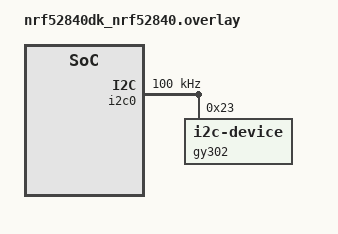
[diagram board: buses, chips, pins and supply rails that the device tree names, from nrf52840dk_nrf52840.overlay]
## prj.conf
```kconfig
CONFIG_I2C=y

CONFIG_LOG=y
CONFIG_LOG_INFO_COLOR_GREEN=y
CONFIG_LOG_BACKEND_UART=n
```

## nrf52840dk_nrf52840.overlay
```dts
&i2c0 {
    clock-frequency = <I2C_BITRATE_STANDARD>;
    gy302: gy302@23
    {
        compatible = "i2c-device";
        status = "okay";
        reg = <0x23>;
    };

    status = "okay";
};
```

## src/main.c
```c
#include <stdio.h>
#include <stdlib.h>

#include <zephyr/net/net_ip.h>
#include <zephyr/kernel.h>
#include <zephyr/drivers/i2c.h>
#include <zephyr/logging/log.h>

LOG_MODULE_REGISTER(MAIN, LOG_LEVEL_DBG);

#define I2C0_NODE DT_NODELABEL(gy302)

static const struct i2c_dt_spec dev_i2c = I2C_DT_SPEC_GET(I2C0_NODE);

int main(void)
{
    if(!device_is_ready(dev_i2c.bus))
    {
        LOG_ERR("I2C bus %s is not ready!\r\n", dev_i2c.bus->name);
        return -1;
    }
    
    int ec = 0;
    char iic_write_buffer[1] = { 0 };
    char iic_read_buffer[2] = { 0 };

    // init gy302
    iic_write_buffer[0] = 0x01;
    ec = i2c_write_dt(&dev_i2c, iic_write_buffer, 1);
    // LOG_DBG("init ec = %d", ec);

    for(;;)
    {
        memset(iic_write_buffer, 0, sizeof(iic_write_buffer));
        memset(iic_read_buffer, 0, sizeof(iic_read_buffer));
        
        iic_write_buffer[0] = 0x11;

        ec = i2c_write_read_dt(
            &dev_i2c,
            iic_write_buffer, 1,
            iic_read_buffer, 2
        );
        // LOG_DBG("get info ec = %d", ec);

        uint16_t brightness_value;
        memcpy(&brightness_value, iic_read_buffer, sizeof(brightness_value));
        brightness_value = ntohs(brightness_value);

        // LOG_HEXDUMP_INF(iic_read_buffer, sizeof(iic_read_buffer), "iic_read_buffer");
        LOG_INF("brightness_value is : %d", brightness_value);
        
        k_sleep(K_MSEC(1000 * 2));
    }

    while(1)
    {
        k_sleep(K_MSEC(10));
    }

    return 0;
}
```
